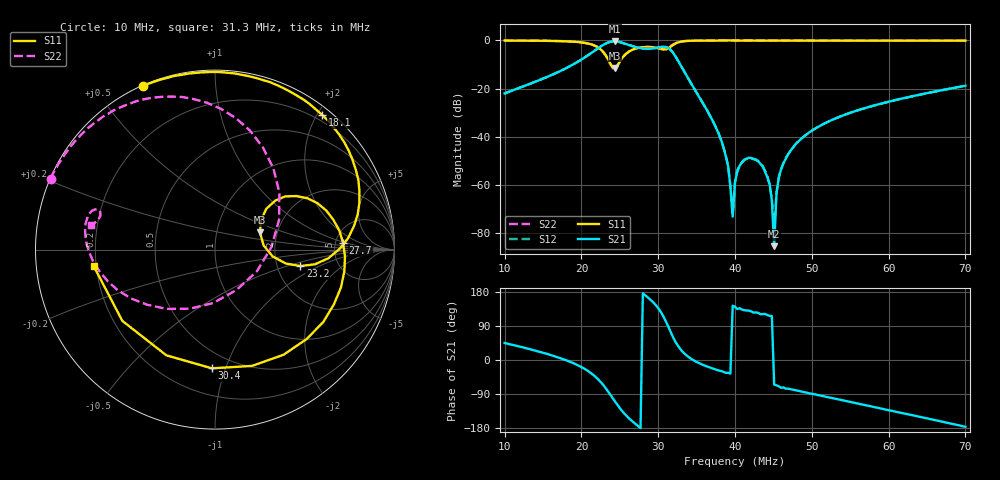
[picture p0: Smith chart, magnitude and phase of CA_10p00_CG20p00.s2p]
#  HZ  S  RI  R  50.00
! Rohde & Schwarz ZVT8 8Ports - Version 4.11 - 1300.0000k08 SN: 100242
! Date: 2026-07-31 14:08:56
! Measurements: S11 S21 S12 S22
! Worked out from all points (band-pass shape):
!   201 points, 10 MHz to 70 MHz, reference 50 ohm
!   highest |S21| = -0.40 dB at 24.4 MHz (marker M1); lowest = -85.4 dB at 45.1 MHz (marker M2)
!   |S21| within 3 dB of the highest: 22.1 MHz to 28.19 MHz (6.091 MHz wide, 24.2 % of centre); 29.11 MHz to 31.42 MHz (2.314 MHz wide, 7.65 % of centre)
!   lowest |S11| = -11.4 dB at 24.4 MHz (marker M3), VSWR 1.73, Z = 81.3 + j16.7 ohm
!   |S11| at or under -10 dB: 23.84 MHz to 24.76 MHz (922.7 kHz wide, 3.8 % of centre)
!   |S22| runs from -11.9 to 0.0 dB; largest |S21 - S12| = 0.0036
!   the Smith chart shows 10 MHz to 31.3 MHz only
!   S11 on the Smith chart (normalised r, x): 10 MHz: 0.00, +0.65; 18.1 MHz: 0.11, +2.07; 23.2 MHz: 2.70, -0.65; 27.7 MHz: 5.86, +0.91; 30.4 MHz: 0.38, -0.90; 31.3 MHz: 0.19, -0.06
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1e7  -0.3989 0.913  0.0562 0.056  0.0561 0.0562  -0.9142 0.3957
1.81e7  0.5974 0.75  0.2711 -0.00551  0.2696 -0.0065  -0.5709 0.7726
2.02e7  0.7841 0.4463  0.3928 -0.149  0.3926 -0.1486  -0.3025 0.8505
2.32e7  0.475 -0.0918  0.219 -0.8394  0.2176 -0.8399  0.359 0.3171
2.44e7  0.2505 0.0955  -0.331 -0.8961  -0.3332 -0.8976  0.1197 -0.2249
2.77e7  0.7134 0.038  -0.6921 -0.00663  -0.6953 -0.00533  -0.7144 0.0274
3.01e7  0.2063 -0.648  -0.4992 0.5156  -0.5008 0.5149  -0.6521 0.2241
3.04e7  -0.0173 -0.6615  -0.4187 0.5989  -0.4184 0.6025  -0.6393 0.2108
3.13e7  -0.6767 -0.0902  0.0184 0.7007  0.0181 0.7005  -0.6925 0.1348
3.28e7  0.1889 0.9109  0.2827 0.1696  0.284 0.1689  -0.8942 0.2912
3.46e7  0.8712 0.4679  0.1056 -0.00127  0.1057 -0.00103  -0.8554 0.5039
3.82e7  0.9566 -0.2848  0.00742 -0.00417  0.00737 -0.0042  -0.7122 0.698
3.91e7  0.9067 -0.4183  0.00206 -0.00138  0.00208 -0.00132  -0.6799 0.7334
3.97e7  0.8657 -0.4969  -0.000176 0.000132  -0.000141 0.000189  -0.6565 0.7511
4e7  0.8425 -0.5342  -0.000881 0.000729  -0.00084 0.000762  -0.6466 0.7615
4.36e7  0.4999 -0.8635  -0.00125 0.00208  -0.00128 0.00217  -0.5166 0.855
4.45e7  0.3991 -0.9142  -0.000477 0.000955  -0.0005 0.00087  -0.4848 0.8726
4.51e7  0.3315 -0.9421  2.28e-05 -4.85e-05  1.68e-05 -0.000123  -0.4632 0.8848
4.6e7  0.2284 -0.9711  0.000612 -0.00204  0.000716 -0.00195  -0.4304 0.9005
5.02e7  -0.262 -0.9634  7.06e-05 -0.014  5.61e-05 -0.014  -0.2772 0.9586
6.01e7  -0.9787 -0.1794  -0.0365 -0.0397  -0.0365 -0.0397  0.0954 0.9912
7e7  -0.5803 0.8021  -0.1146 -0.00749  -0.1144 -0.00746  0.468 0.8737
